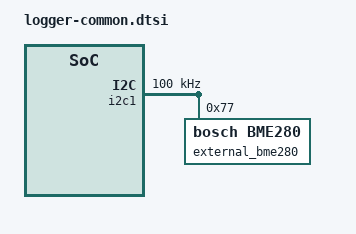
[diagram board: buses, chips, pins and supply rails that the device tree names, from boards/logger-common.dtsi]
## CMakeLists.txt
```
cmake_minimum_required(VERSION 3.20.0)
find_package(Zephyr REQUIRED HINTS $ENV{ZEPHYR_BASE})
project(link_logger LANGUAGES C)
target_include_directories(app PRIVATE include)
target_sources(app PRIVATE
  src/main.c src/app.c src/state.c src/sensors.c src/record.c
  src/timekeeping.c src/logging.c src/config.c src/com.c src/shell.c src/heartbeat.c
  src/battery.c src/microphone.c src/audio_level.c src/sensor_color.c src/sensor_gas.c
  src/sensor_magnetometer.c)
target_compile_options(app PRIVATE -Wall -Wextra -Werror -Wformat=2)
```

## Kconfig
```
mainmenu "LINK environmental logger"
source "Kconfig.zephyr"
```

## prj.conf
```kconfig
# Sleep until a real event or the next active sampling/flush deadline.
CONFIG_TICKLESS_KERNEL=y
CONFIG_GPIO=y
CONFIG_I2C=y
CONFIG_SENSOR=y
CONFIG_BME280=y
CONFIG_BME280_MODE_FORCED=y
CONFIG_BME280_TEMP_OVER_1X=y
CONFIG_BME280_PRESS_OVER_1X=y
CONFIG_BME280_HUMIDITY_OVER_1X=y
CONFIG_BME280_FILTER_OFF=y

CONFIG_FLASH=y
CONFIG_FLASH_MAP=y
CONFIG_FLASH_PAGE_LAYOUT=y
CONFIG_FILE_SYSTEM=y
CONFIG_FILE_SYSTEM_LITTLEFS=y
CONFIG_FILE_SYSTEM_MKFS=y

CONFIG_SERIAL=y
CONFIG_CONSOLE=y
CONFIG_UART_CONSOLE=y
CONFIG_USB_DEVICE_STACK=y
CONFIG_USB_DEVICE_INITIALIZE_AT_BOOT=y
CONFIG_USB_CDC_ACM=y
CONFIG_UART_LINE_CTRL=y
CONFIG_USB_DEVICE_PRODUCT="LINK Sensor Logger"
CONFIG_SHELL=y
CONFIG_SHELL_BACKEND_SERIAL=y
# com.c checks DTR without the shell backend's periodic polling timer.
CONFIG_SHELL_BACKEND_SERIAL_CHECK_DTR=n
CONFIG_SHELL_BACKEND_SERIAL_RX_RING_BUFFER_SIZE=256
CONFIG_SHELL_BACKEND_SERIAL_TX_RING_BUFFER_SIZE=1024
CONFIG_SHELL_STACK_SIZE=3072
CONFIG_SHELL_CMD_BUFF_SIZE=160
# Plain serial output for terminal capture, including after reboot.
CONFIG_SHELL_PROMPT_UART=""
# Bind the empty default directly; this Zephyr pin rejects empty runtime prompts.
CONFIG_SHELL_PROMPT_CHANGE=n
CONFIG_SHELL_VT100_COLORS=n
CONFIG_SHELL_VT100_COMMANDS=n
CONFIG_SHELL_CMDS_SELECT=y
CONFIG_SHELL_CMDS=y
CONFIG_LOG=y
CONFIG_LOG_MODE_DEFERRED=y
CONFIG_LOG_RUNTIME_FILTERING=y
CONFIG_LOG_MAX_LEVEL=4
CONFIG_LOG_DEFAULT_LEVEL=3
CONFIG_LOG_BACKEND_UART=n
CONFIG_SHELL_LOG_BACKEND=y
CONFIG_LOG_CMDS=n
CONFIG_LOG_BUFFER_SIZE=2048

CONFIG_MAIN_STACK_SIZE=8192
CONFIG_SYSTEM_WORKQUEUE_STACK_SIZE=1536
CONFIG_HEAP_MEM_POOL_SIZE=0
CONFIG_THREAD_NAME=y
CONFIG_ASSERT=y
CONFIG_REBOOT=y
CONFIG_BT=n
CONFIG_NETWORKING=n

# Only the application core is used; SWD flashing replaces the factory bootloader.
CONFIG_BOOTLOADER_MCUBOOT=n
CONFIG_BOARD_ENABLE_CPUNET=n
CONFIG_NORDIC_QSPI_NOR=y
CONFIG_PM_DEVICE=y
CONFIG_PM_DEVICE_RUNTIME=y

CONFIG_SHELL_BACKEND_SERIAL_LOG_LEVEL_INF=y
CONFIG_LOG_BLOCK_IN_THREAD=n
CONFIG_LOG_PROCESS_TRIGGER_THRESHOLD=1

# Onboard sensor drivers are enabled only by the Thingy:53 board configuration.
```

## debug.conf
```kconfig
CONFIG_DEBUG=y
CONFIG_DEBUG_OPTIMIZATIONS=y
CONFIG_DEBUG_THREAD_INFO=y
CONFIG_THREAD_MONITOR=y
```

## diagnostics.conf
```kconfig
# Opt-in hardware diagnostics; normal logger builds do not expose I2C commands.
CONFIG_I2C_SHELL=y
```

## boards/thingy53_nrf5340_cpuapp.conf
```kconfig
# Thingy:53 onboard sensors. No radio or network-core firmware is required.
CONFIG_SPI=y
CONFIG_BME680=y
CONFIG_BME680_TEMP_OVER_1X=y
CONFIG_BME680_PRESS_OVER_1X=y
CONFIG_BME680_HUMIDITY_OVER_1X=y
CONFIG_BME680_FILTER_OFF=y
CONFIG_BME680_HEATR_TEMP_LP=y
CONFIG_BME680_HEATR_DUR_LP=y
CONFIG_BMM150=y
CONFIG_BMM150_PRESET_LOW_POWER=y
CONFIG_BMM150_TRIGGER_NONE=y
CONFIG_ADXL362=y
CONFIG_ADXL362_ACCEL_RANGE_2G=y
CONFIG_ADXL362_ACCEL_ODR_12_5=y
CONFIG_ADXL362_TRIGGER_NONE=y
CONFIG_BMI270=y
CONFIG_BMI270_TRIGGER_NONE=y
CONFIG_ADC=y
CONFIG_VOLTAGE_DIVIDER=y
CONFIG_AUDIO=y
CONFIG_AUDIO_DMIC=y
```

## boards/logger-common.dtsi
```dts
/* Both supported boards have an 8 MiB MX25R64 QSPI device. */
/delete-node/ &storage_partition;

/ {
	aliases {
		environment-sensor = &external_bme280;
	};

	chosen {
		/delete-property/ zephyr,bt-hci;
		/delete-property/ zephyr,bt-hci-ipc;
		/delete-property/ zephyr,bt-mon-uart;
		/delete-property/ zephyr,bt-c2h-uart;
		/delete-property/ nordic,802154-spinel-ipc;
		/delete-property/ zephyr,ieee802154;
	};
};

&mx25r64 {
	zephyr,pm-device-runtime-auto;

	partitions {
		compatible = "fixed-partitions";
		#address-cells = <1>;
		#size-cells = <1>;

		/* Leave lower 4 MiB, including Thingy factory DFU slots, alone. */
		storage_partition: partition@400000 {
			label = "logger-storage";
			reg = <0x400000 0x400000>;
		};
	};
};

&i2c1 {
	compatible = "nordic,nrf-twim";
	status = "okay";
	clock-frequency = <I2C_BITRATE_STANDARD>;
	pinctrl-0 = <&logger_i2c_default>;
	pinctrl-1 = <&logger_i2c_sleep>;
	pinctrl-names = "default", "sleep";

	external_bme280: bme280@77 {
		compatible = "bosch,bme280";
		reg = <0x77>;
	};
};

/* UART1/SPI1 share I2C1's peripheral instance. Console is USB CDC ACM. */
&uart1 { status = "disabled"; };
&spi1 { status = "disabled"; };
&uart0 { status = "disabled"; };
&spi0 { status = "disabled"; };
&i2c0 { status = "disabled"; };
&adc { status = "disabled"; };
&pwm0 { status = "disabled"; };
&spi4 { status = "disabled"; };
&gpio_fwd { status = "disabled"; };
&bt_hci_ipc0 { status = "disabled"; };
&ieee802154 { status = "disabled"; };
```

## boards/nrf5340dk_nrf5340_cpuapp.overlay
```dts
#include <../boards/common/usb/cdc_acm_serial.dtsi>
#include "logger-common.dtsi"

/* CDC ACM is on the DK's nRF USB connector, not its J-Link USB connector. */
/ {
	aliases {
		heartbeat-led = &led0;
	};
};

&pinctrl {
	logger_i2c_default: logger_i2c_default {
		group1 {
			psels = <NRF_PSEL(TWIM_SCL, 1, 3)>,
				<NRF_PSEL(TWIM_SDA, 1, 2)>;
		};
	};

	logger_i2c_sleep: logger_i2c_sleep {
		group1 {
			psels = <NRF_PSEL(TWIM_SCL, 1, 3)>,
				<NRF_PSEL(TWIM_SDA, 1, 2)>;
			low-power-enable;
		};
	};
};
```

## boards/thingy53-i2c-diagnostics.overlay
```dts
/* The normal sensor bus is I2C1 on TP4/TP5. Optionally expose the edge bus too. */
&pinctrl {
	diagnostic_i2c_default: diagnostic_i2c_default {
		group1 {
			psels = <NRF_PSEL(TWIM_SCL, 0, 5)>,
				<NRF_PSEL(TWIM_SDA, 0, 4)>;
		};
	};

	diagnostic_i2c_sleep: diagnostic_i2c_sleep {
		group1 {
			psels = <NRF_PSEL(TWIM_SCL, 0, 5)>,
				<NRF_PSEL(TWIM_SDA, 0, 4)>;
			low-power-enable;
		};
	};
};

&i2c0 {
	compatible = "nordic,nrf-twim";
	status = "okay";
	clock-frequency = <I2C_BITRATE_STANDARD>;
	pinctrl-0 = <&diagnostic_i2c_default>;
	pinctrl-1 = <&diagnostic_i2c_sleep>;
	pinctrl-names = "default", "sleep";
};
```

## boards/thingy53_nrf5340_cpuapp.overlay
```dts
#include "logger-common.dtsi"

/* Hardware 1.1.0 schematic: TP4 = SDA/P1.02, TP5 = SCL/P1.03. */
/ {
	aliases {
		heartbeat-led = &green_led;
		onboard-environment = &bme688;
		magnetometer = &bmm150;
		color-sensor = &bh1749;
		low-power-accel = &adxl362;
		imu = &bmi270;
		battery-voltage = &vbatt;
		microphone = &pdm0;
	};
};

&pinctrl {
	logger_i2c_default: logger_i2c_default {
		group1 {
			psels = <NRF_PSEL(TWIM_SCL, 1, 3)>,
				<NRF_PSEL(TWIM_SDA, 1, 2)>;
		};
	};

	logger_i2c_sleep: logger_i2c_sleep {
		group1 {
			psels = <NRF_PSEL(TWIM_SCL, 1, 3)>,
				<NRF_PSEL(TWIM_SDA, 1, 2)>;
			low-power-enable;
		};
	};

	/* VM3011 DATA and CLK on hardware 1.1.0, schematic sheet 2. */
	logger_pdm_default: logger_pdm_default {
		group1 {
			psels = <NRF_PSEL(PDM_CLK, 1, 9)>,
				<NRF_PSEL(PDM_DIN, 0, 27)>;
		};
	};

	logger_pdm_sleep: logger_pdm_sleep {
		group1 {
			psels = <NRF_PSEL(PDM_CLK, 1, 9)>,
				<NRF_PSEL(PDM_DIN, 0, 27)>;
			low-power-enable;
		};
	};
};

/* Keep board-default rails enabled: 3V3 powers the green LED, and the switched
 * sensor rail powers the TP4/TP5 bus pull-ups. QSPI still uses DPD.
 */

&bme688 { status = "okay"; };
&bmm150 { status = "okay"; };
&bh1749 { status = "okay"; };
&adxl362 { status = "okay"; };
&bmi270 { status = "okay"; };
&spi3 { status = "okay"; };
&pwm1 { status = "disabled"; };
&adc {
	status = "okay";
	channel@2 {
		/* 1.5 Mohm / 180 kohm divider needs time to charge the SAADC input. */
		zephyr,acquisition-time = <ADC_ACQ_TIME(ADC_ACQ_TIME_MICROSECONDS, 40)>;
	};
};
&vbatt {
	status = "okay";
	zephyr,pm-device-runtime-auto;
	power-on-sample-delay-us = <1000>;
};
/* Voltage is measured directly; there is no hardware state-of-charge gauge. */
&fuel_gauge { status = "disabled"; };

&clock {
	hfclkaudio-frequency = <12288000>;
};

&pdm0 {
	status = "okay";
	pinctrl-0 = <&logger_pdm_default>;
	pinctrl-1 = <&logger_pdm_sleep>;
	pinctrl-names = "default", "sleep";
	clock-source = "ACLK";
};
```

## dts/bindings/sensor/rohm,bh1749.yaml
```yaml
description: ROHM BH1749NUC color sensor read by the application polling adapter
compatible: "rohm,bh1749"
include: i2c-device.yaml
properties:
  int-gpios:
    type: phandle-array
    description: Optional active-low interrupt output (unused by the polling adapter)
```

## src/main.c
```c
#include "app.h"

int main(void)
{
	app_run();
	return 0;
}
```

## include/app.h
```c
#ifndef LOGGER_APP_H_
#define LOGGER_APP_H_

#include <stdint.h>

enum app_command_type {
	APP_STATUS,
	APP_LOG_START,
	APP_LOG_STOP,
	APP_LOG_FLUSH,
	APP_LOG_LIST,
	APP_LOG_DUMP,
	APP_STREAM_START,
	APP_STREAM_STOP,
	APP_TIME_GET,
	APP_TIME_SET,
	APP_CONFIG_SHOW,
	APP_CONFIG_LOG_RATE,
	APP_CONFIG_STREAM_RATE,
	APP_CONFIG_FLUSH_RATE,
	APP_CONFIG_SAVE,
	APP_STORAGE_FORMAT,
};

struct app_command {
	enum app_command_type type;
	uint32_t value;
	char text[48];
};

/* Copies the command; never waits for the application worker. */
int app_submit(const struct app_command *command);
void app_run(void);

#endif /* LOGGER_APP_H_ */
```

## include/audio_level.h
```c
#ifndef LOGGER_AUDIO_LEVEL_H
#define LOGGER_AUDIO_LEVEL_H

#include <stddef.h>
#include <stdint.h>

/* Integer RMS of signed 16-bit PCM, including DC; not a calibrated SPL reading.
 * At most 65535 samples; result 0..32768. Output remains unchanged on error.
 */
int pcm_rms(const int16_t *samples, size_t count, int32_t *result);

#endif
```

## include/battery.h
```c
#ifndef LOGGER_BATTERY_H
#define LOGGER_BATTERY_H

#include <stdint.h>

/* Application thread only. The switched divider is off between readings. */
int battery_init(void);
/* Output is millivolts and is unchanged on error. */
int battery_read(int32_t *millivolts);

#endif
```

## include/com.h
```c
#ifndef LOGGER_COM_H_
#define LOGGER_COM_H_

#include <stdbool.h>
#include <stdint.h>

struct sensor_record;

void com_init(void);
bool com_ready(void);
void com_print(const char *fmt, ...) __attribute__((format(printf, 1, 2)));

/* Enqueue a line with a bounded wait; negative errno means it was not accepted. */
int com_emit(const char *line, void *context);

/* Sampling never waits for the USB host. A full queue drops this stream record. */
int com_stream(const struct sensor_record *record);
uint32_t com_dropped_count(void);

#endif /* LOGGER_COM_H_ */
```

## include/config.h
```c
#ifndef LOGGER_CONFIG_H
#define LOGGER_CONFIG_H

#include <stdbool.h>
#include <stdint.h>

struct logger_config {
	uint32_t log_rate_ms;
	uint32_t stream_rate_ms;
	uint32_t flush_rate_ms;
};

void config_defaults(struct logger_config *config);
bool config_rate_valid(uint32_t rate_ms);
/* Application thread only. A failed load leaves the supplied config intact. */
int config_load(struct logger_config *config);
int config_save(const struct logger_config *config);

#endif
```

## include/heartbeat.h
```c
#ifndef LOGGER_HEARTBEAT_H
#define LOGGER_HEARTBEAT_H

/* Call once from the application thread. First 100 ms pulse follows after 10 s. */
int heartbeat_init(void);

#endif
```

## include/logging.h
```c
#ifndef LOGGER_LOGGING_H
#define LOGGER_LOGGING_H

#include <stdbool.h>

struct sensor_record;

#define LOG_NAME_MAX 48
#define LOG_MOUNT_POINT "/lfs"

typedef int (*log_emit_fn)(const char *line, void *context);

/* All calls belong to the application thread. Mounting never formats flash. */
int logging_init(void);
bool logging_ready(void);
int logging_format(void);
int logging_start(const char *name);
int logging_append(const struct sensor_record *record);
int logging_flush(void);
/* Always attempts close, even if the final sync fails. */
int logging_stop(void);
int logging_list(log_emit_fn emit, void *context);
int logging_dump(const char *name, log_emit_fn emit, void *context);

#endif
```

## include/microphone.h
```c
#ifndef LOGGER_MICROPHONE_H
#define LOGGER_MICROPHONE_H

#include <stdint.h>

/* Application thread only. No sampling or microphone clock while idle. */
int microphone_init(void);
/* 100 ms PCM snapshot after 100 ms settling; RMS amplitude 0..32768, not dB SPL.
 * Stops PDM on success or error. Output remains unchanged on error.
 */
int microphone_read(int32_t *rms);

#endif
```

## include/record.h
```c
#ifndef LOGGER_RECORD_H
#define LOGGER_RECORD_H

#include <stddef.h>
#include <stdint.h>

#define RECORD_ENVIRONMENT_HEADER "uptime_ms,epoch_ms,temperature_C,humidity_pct,pressure_hPa"
#define RECORD_CSV_HEADER                                                                          \
	RECORD_ENVIRONMENT_HEADER                                                                  \
	",bme688_temperature_C,bme688_humidity_pct,bme688_pressure_hPa,bme688_gas_ohm"             \
	",bmi270_accel_x_m_s2,bmi270_accel_y_m_s2,bmi270_accel_z_m_s2"                             \
	",bmi270_gyro_x_rad_s,bmi270_gyro_y_rad_s,bmi270_gyro_z_rad_s"                             \
	",adxl362_accel_x_m_s2,adxl362_accel_y_m_s2,adxl362_accel_z_m_s2,adxl362_temperature_C"    \
	",bmm150_x_uT,bmm150_y_uT,bmm150_z_uT"                                                     \
	",bh1749_red,bh1749_green,bh1749_blue,bh1749_ir,battery_V,microphone_rms,valid_mask"
#define RECORD_LEGACY_CSV_HEADER "uptime_ms,epoch_ms,temperature_mC,humidity_mpercent,pressure_Pa"
#define RECORD_STREAM_HEADER RECORD_CSV_HEADER
/* Includes the terminating NUL. Large enough for the header and every int32 field. */
#define RECORD_TEXT_SIZE 1024U

enum record_validity {
	RECORD_VALID_EXTERNAL = 1U << 0,
	RECORD_VALID_BME688 = 1U << 1,
	RECORD_VALID_GAS = 1U << 2,
	RECORD_VALID_BMI270 = 1U << 3,
	RECORD_VALID_ADXL362 = 1U << 4,
	RECORD_VALID_BMM150 = 1U << 5,
	RECORD_VALID_BH1749 = 1U << 6,
	RECORD_VALID_BATTERY = 1U << 7,
	RECORD_VALID_MICROPHONE = 1U << 8,
};

struct sensor_record {
	int64_t uptime_ms;
	/* -1 means UTC has not been set since boot. */
	int64_t epoch_ms;
	int32_t temperature_mc;
	int32_t humidity_mpct;
	int32_t pressure_pa;
	int32_t bme688_temperature_mc;
	int32_t bme688_humidity_mpct;
	int32_t bme688_pressure_pa;
	int32_t bme688_gas_ohm;
	int32_t bmi270_accel_mms2[3];
	int32_t bmi270_gyro_mrads[3];
	int32_t adxl362_accel_mms2[3];
	int32_t adxl362_temperature_mc;
	int32_t bmm150_milli_ut[3];
	int32_t bh1749_red;
	int32_t bh1749_green;
	int32_t bh1749_blue;
	int32_t bh1749_ir;
	int32_t battery_mv;
	int32_t microphone_rms;
	/* Only fields belonging to a set bit contain measurements from this sample. */
	uint32_t valid_mask;
};

/* Engineering-unit CSV; missing sensor groups are empty fields. No newline. */
int record_format(const struct sensor_record *record, char *buffer, size_t size);
/* Original five-column engineering-unit format, for dumping older files only. */
int record_format_environment(const struct sensor_record *record, char *buffer, size_t size);
/* Parse an old integer CSV row without a newline; output is unchanged on error. */
int record_parse_legacy(const char *line, struct sensor_record *record);

#endif
```

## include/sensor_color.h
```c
#ifndef LOGGER_SENSOR_COLOR_H
#define LOGGER_SENSOR_COLOR_H

#include <stdint.h>

int sensor_color_init(void);
int sensor_color_read(int32_t *red, int32_t *green, int32_t *blue, int32_t *infrared);
int sensor_color_idle(void);

#endif
```

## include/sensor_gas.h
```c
#ifndef LOGGER_SENSOR_GAS_H
#define LOGGER_SENSOR_GAS_H

#include <stdint.h>

int sensor_gas_init(void);
/* Drain the previous complete field before Zephyr's BME680 sample_fetch. */
int sensor_gas_prepare(void);
/* Verify that fetch produced a new completed measurement, then cache its gas field. */
int sensor_gas_finish(void);
int sensor_gas_read(int32_t *ohms);

#endif
```

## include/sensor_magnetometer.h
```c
#ifndef LOGGER_SENSOR_MAGNETOMETER_H
#define LOGGER_SENSOR_MAGNETOMETER_H

int sensor_magnetometer_init(void);
/* Forced measurement before using Zephyr's compensated fetch/get. */
int sensor_magnetometer_prepare(void);
int sensor_magnetometer_idle(void);

#endif
```
